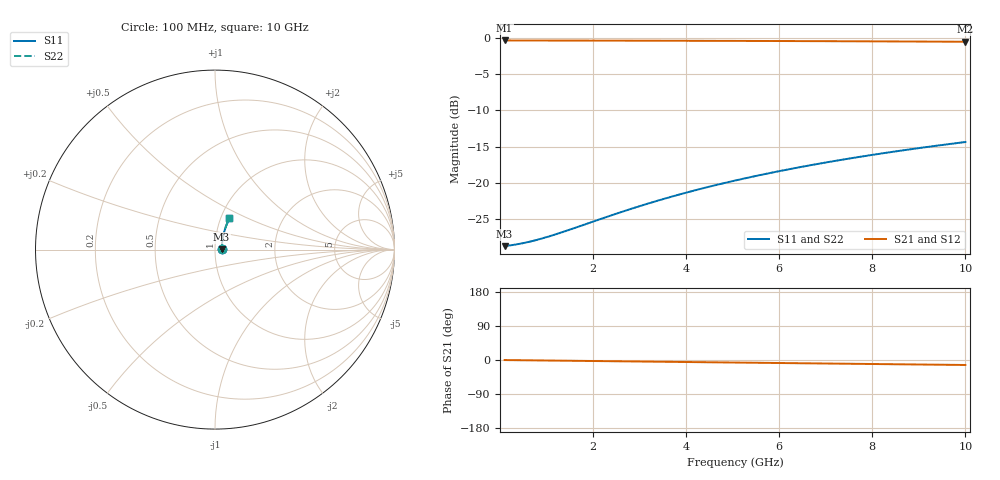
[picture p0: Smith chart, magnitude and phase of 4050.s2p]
# Hz S RI R 50.00
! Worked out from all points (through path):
!   100 points, 100 MHz to 10 GHz, reference 50 ohm
!   highest |S21| = -0.32 dB at 100 MHz (marker M1); lowest = -0.5 dB at 10 GHz (marker M2)
!   group delay of S21, straight-line fit = 3.66 ps
!   lowest |S11| = -28.8 dB at 100 MHz (marker M3), VSWR 1.08, Z = 53.8 + j0.197 ohm
!   |S11| at or under -10 dB: start of sweep to end of sweep
!   |S22| runs from -28.8 to -14.4 dB; largest |S21 - S12| = 0
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1e8  0.0363 0.00183  0.9637 -0.00224  0.9637 -0.00224  0.0363 0.00183
3e8  0.0367 0.00548  0.9633 -0.00672  0.9633 -0.00672  0.0367 0.00548
5e8  0.037 0.00913  0.963 -0.0112  0.963 -0.0112  0.037 0.00913
8e8  0.0375 0.0146  0.9625 -0.0179  0.9625 -0.0179  0.0375 0.0146
1e9  0.0378 0.0182  0.9622 -0.0224  0.9622 -0.0224  0.0378 0.0182
1.2e9  0.0381 0.0219  0.9619 -0.0268  0.9619 -0.0268  0.0381 0.0219
1.8e9  0.0391 0.0328  0.9608 -0.0402  0.9608 -0.0402  0.0391 0.0328
2.3e9  0.0402 0.0418  0.9598 -0.0513  0.9598 -0.0513  0.0402 0.0418
2.7e9  0.0412 0.049  0.9588 -0.0602  0.9588 -0.0602  0.0412 0.049
3.1e9  0.0422 0.0562  0.9577 -0.069  0.9577 -0.069  0.0422 0.0562
3.4e9  0.0431 0.0616  0.9567 -0.0756  0.9567 -0.0756  0.0431 0.0616
3.8e9  0.0444 0.0687  0.9554 -0.0844  0.9554 -0.0844  0.0444 0.0687
4.2e9  0.0459 0.0758  0.954 -0.0932  0.954 -0.0932  0.0459 0.0758
4.6e9  0.0474 0.0829  0.9524 -0.1019  0.9524 -0.1019  0.0474 0.0829
5.1e9  0.0495 0.0917  0.9502 -0.1128  0.9502 -0.1128  0.0495 0.0917
5.5e9  0.0514 0.0986  0.9483 -0.1214  0.9483 -0.1214  0.0514 0.0986
5.9e9  0.0533 0.1056  0.9463 -0.13  0.9463 -0.13  0.0533 0.1056
6.7e9  0.0576 0.1193  0.942 -0.1471  0.942 -0.1471  0.0576 0.1193
7.5e9  0.0623 0.1328  0.9371 -0.1639  0.9371 -0.1639  0.0623 0.1328
8.4e9  0.0682 0.1477  0.9311 -0.1825  0.9311 -0.1825  0.0682 0.1477
9.2e9  0.0739 0.1607  0.9253 -0.1989  0.9253 -0.1989  0.0739 0.1607
1e10  0.0801 0.1734  0.919 -0.2149  0.919 -0.2149  0.0801 0.1734
